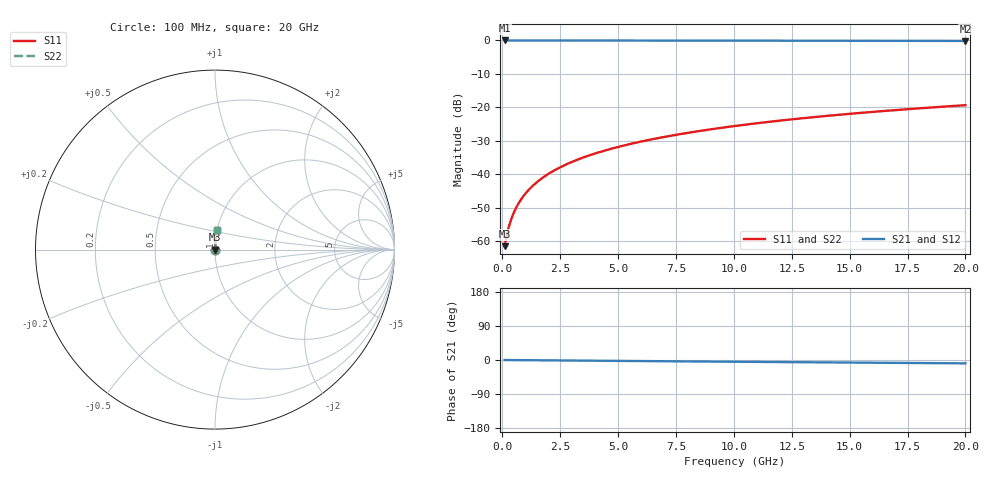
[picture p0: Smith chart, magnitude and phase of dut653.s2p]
! Touchstone file exported from HFSS 2024.1.0
!  File:  C:/UserFiles/LocalFiles/RDL_TSV_Batchsim/temp_RDL_top_653_1779781427.aedt
!  Generated:  03:45:54 PM May 26, 2026
!  Design:  RDL_top
!  Project:  temp_RDL_top_653_1779781427
!  Setup:  Setup1
!  Solution:  Sweep
! Variables:
!  dtsv = 10.80580581um
!  hbump = 3um
!  htsv = 52.18um
!  ldown = 100um
!  lrdl = 100.85um
!  p = 40
!  p1 = 40.82um
!  rhole = 1um
!  t = 450um
!  tdown = 3.915915916um
!  trdl = 4.45um
!  wdown = 15.38538539um
!  wrdl = 16.11um
# GHz S MA R 50.000000
! Terminal data exported
! Port[1] = Box2_T1
! Port[2] = Box2_T2
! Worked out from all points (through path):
!   200 points, 100 MHz to 20 GHz, reference 50 ohm
!   highest |S21| = -0.01 dB at 100 MHz (marker M1); lowest = -0.1 dB at 20 GHz (marker M2)
!   group delay of S21, straight-line fit = 1.22 ps
!   lowest |S11| = -61.5 dB at 100 MHz (marker M3), VSWR 1.00, Z = 50.1 + j0.0542 ohm
!   |S11| at or under -10 dB: start of sweep to end of sweep
!   |S22| runs from -61.5 to -19.3 dB; largest |S21 - S12| = 1.2e-15
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0.1  0.0008462 39.8  0.9993 -0.1  0.9993 -0.1  0.0008462 39.8
! Gamma 0 0 0 0
! Port Impedance 50 0 50 0
0.2  0.001264 57.8  0.9993 -0.1  0.9993 -0.1  0.001264 57.8
0.3  0.00173 66.3  0.9993 -0.2  0.9993 -0.2  0.00173 66.3
0.4  0.00221 71.1  0.9993 -0.2  0.9993 -0.2  0.00221 71.1
0.5  0.002695 74.3  0.9992 -0.2  0.9992 -0.2  0.002695 74.3
0.6  0.003184 76.6  0.9992 -0.3  0.9992 -0.3  0.003184 76.6
0.8  0.004171 79.6  0.9992 -0.4  0.9992 -0.4  0.004171 79.6
1.1  0.005667 82.3  0.9991 -0.5  0.9991 -0.5  0.005667 82.3
1.5  0.007678 84.3  0.999 -0.7  0.999 -0.7  0.007678 84.3
1.8  0.009194 85.2  0.9989 -0.9  0.9989 -0.9  0.009194 85.2
2.1  0.01071 85.9  0.9987 -1.0  0.9987 -1.0  0.01071 85.9
2.7  0.01377 86.7  0.9984 -1.3  0.9984 -1.3  0.01377 86.7
3.5  0.01787 87.4  0.998 -1.7  0.998 -1.7  0.01787 87.4
4.2  0.02149 87.8  0.9975 -2.0  0.9975 -2.0  0.02149 87.8
5  0.02565 88.0  0.9968 -2.4  0.9968 -2.4  0.02565 88.0
5.9  0.03039 88.2  0.9961 -2.8  0.9961 -2.8  0.03039 88.2
6.8  0.03517 88.2  0.9953 -3.2  0.9953 -3.2  0.03517 88.2
8.3  0.04324 88.0  0.994 -3.9  0.994 -3.9  0.04324 88.0
10.1  0.05306 87.6  0.9924 -4.7  0.9924 -4.7  0.05306 87.6
13.4  0.07129 86.4  0.9895 -6.1  0.9895 -6.1  0.07129 86.4
16.7  0.0896 85.0  0.9867 -7.5  0.9867 -7.5  0.0896 85.0
20  0.1078 83.5  0.9838 -8.8  0.9838 -8.8  0.1078 83.5
